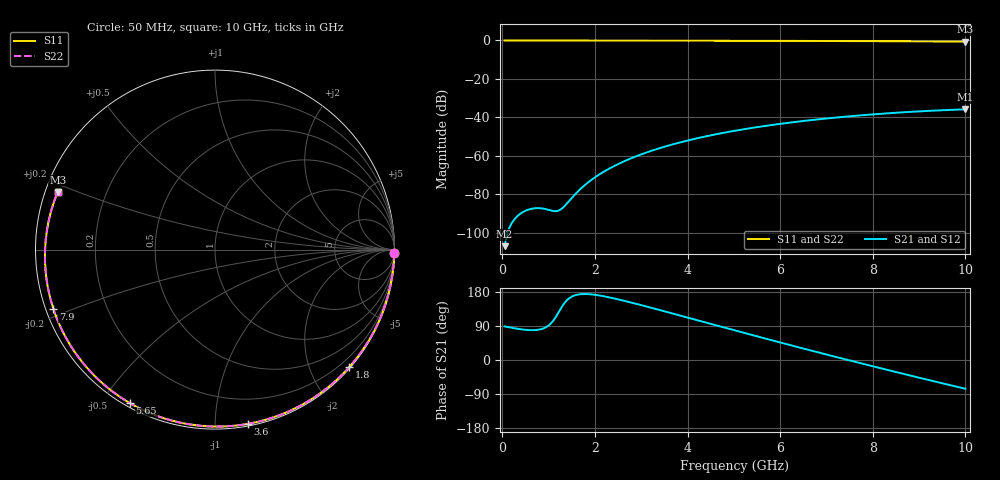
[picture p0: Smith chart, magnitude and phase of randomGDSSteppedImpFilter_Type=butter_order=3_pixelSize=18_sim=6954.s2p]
! freq	dB(S11)	phase(S11)	dB(S12)	phase(S12)
!  dB(S21)	phase(S21)	dB(S22)	phase(S22)
!S-par simulation data
#  GHz  S  DB  R 50
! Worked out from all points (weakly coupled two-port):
!   200 points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, 50 MHz to 10 GHz, reference 50 ohm
!   highest |S21| = -35.83 dB at 10 GHz (marker M1); lowest = -107.0 dB at 50 MHz (marker M2)
!   lowest |S11| = -0.6 dB at 10 GHz (marker M3), VSWR 29.09, Z = 1.77 + j8.86 ohm
!   |S11| at or under -10 dB: nowhere
!   |S22| runs from -0.6 to 0.0 dB; largest |S21 - S12| = 0
!   S11 on the Smith chart (normalised r, x): 50 MHz: open; 1.8 GHz: 0.02, -2.66; 3.6 GHz: 0.01, -1.20; 5.65 GHz: 0.02, -0.59; 7.9 GHz: 0.02, -0.18; 10 GHz: 0.04, +0.18
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0.05  -0.00 -1.1  -106.99 88.7  -106.99 88.7  -0.00 -1.1
0.45  -0.02 -10.5  -89.18 80.3  -89.18 80.3  -0.02 -10.4
0.8  -0.02 -18.6  -87.23 80.3  -87.23 80.3  -0.02 -18.5
1.55  -0.04 -35.6  -80.58 169.9  -80.58 169.9  -0.04 -35.6
1.6  -0.05 -36.7  -79.32 171.8  -79.32 171.8  -0.05 -36.7
1.75  -0.05 -40.1  -75.89 174.1  -75.89 174.1  -0.05 -40.1
1.8  -0.05 -41.2  -74.86 174.1  -74.86 174.1  -0.05 -41.2
2.1  -0.06 -47.8  -69.62 170.2  -69.62 170.2  -0.06 -47.8
2.45  -0.07 -55.4  -64.89 161.5  -64.89 161.5  -0.07 -55.4
2.9  -0.08 -65.0  -60.16 148.0  -60.16 148.0  -0.08 -65.0
3.4  -0.10 -75.4  -56.01 131.8  -56.01 131.8  -0.10 -75.3
3.6  -0.10 -79.4  -54.59 125.3  -54.59 125.3  -0.10 -79.4
4.3  -0.13 -93.4  -50.38 102.0  -50.38 102.0  -0.13 -93.3
5.05  -0.16 -107.8  -46.85 77.2  -46.85 77.2  -0.16 -107.7
5.65  -0.19 -119.0  -44.55 57.6  -44.55 57.6  -0.19 -118.9
6.15  -0.22 -128.1  -42.91 41.4  -42.91 41.4  -0.22 -128.1
6.7  -0.26 -138.1  -41.35 23.9  -41.35 23.9  -0.26 -138.1
7.3  -0.31 -149.0  -39.88 5.1  -39.88 5.1  -0.31 -148.9
7.9  -0.36 -159.9  -38.64 -13.5  -38.64 -13.5  -0.36 -159.8
8.35  -0.41 -168.1  -37.84 -27.2  -37.84 -27.2  -0.41 -168.1
9.2  -0.50 175.8  -36.63 -52.7  -36.63 -52.7  -0.50 175.8
10  -0.60 159.9  -35.83 -75.9  -35.83 -75.9  -0.60 159.9
